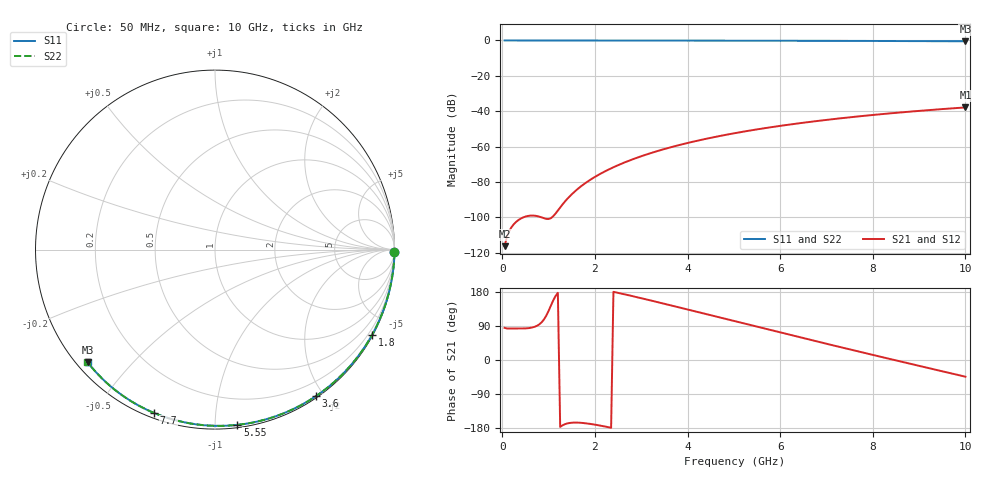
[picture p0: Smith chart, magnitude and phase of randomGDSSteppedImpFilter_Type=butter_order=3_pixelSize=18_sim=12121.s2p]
! freq	dB(S11)	phase(S11)	dB(S12)	phase(S12)
!  dB(S21)	phase(S21)	dB(S22)	phase(S22)
!S-par simulation data
#  GHz  S  DB  R 50
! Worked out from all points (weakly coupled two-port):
!   200 points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, 50 MHz to 10 GHz, reference 50 ohm
!   highest |S21| = -37.84 dB at 10 GHz (marker M1); lowest = -116.2 dB at 50 MHz (marker M2)
!   lowest |S11| = -0.5 dB at 10 GHz (marker M3), VSWR 37.02, Z = 1.54 - j18.9 ohm
!   |S11| at or under -10 dB: nowhere
!   |S22| runs from -0.5 to 0.0 dB; largest |S21 - S12| = 0
!   S11 on the Smith chart (normalised r, x): 50 MHz: open; 1.8 GHz: 0.03, -3.95; 3.6 GHz: 0.02, -1.90; 5.55 GHz: 0.02, -1.14; 7.7 GHz: 0.02, -0.69; 10 GHz: 0.03, -0.38
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0.05  -0.00 -0.8  -116.24 84.8  -116.24 84.8  -0.00 -0.8
0.45  -0.01 -7.2  -99.99 83.1  -99.99 83.1  -0.01 -7.2
0.9  -0.02 -14.3  -100.47 107.0  -100.47 107.0  -0.02 -14.4
1.75  -0.04 -27.6  -81.42 -166.3  -81.42 -166.3  -0.04 -27.7
1.8  -0.04 -28.4  -80.48 -167.0  -80.48 -167.0  -0.04 -28.4
1.85  -0.04 -29.2  -79.58 -167.8  -79.58 -167.8  -0.04 -29.2
2.05  -0.04 -32.2  -76.34 -171.6  -76.34 -171.6  -0.04 -32.3
2.25  -0.05 -35.3  -73.53 -176.3  -73.53 -176.3  -0.05 -35.3
2.55  -0.05 -39.9  -69.91 175.8  -69.91 175.8  -0.05 -39.9
2.95  -0.06 -45.9  -65.88 164.6  -65.88 164.6  -0.06 -45.9
3.4  -0.07 -52.5  -62.10 151.3  -62.10 151.3  -0.07 -52.6
3.6  -0.07 -55.5  -60.62 145.4  -60.62 145.4  -0.07 -55.5
3.9  -0.08 -59.8  -58.57 136.3  -58.57 136.3  -0.08 -59.9
4.3  -0.09 -65.5  -56.14 124.2  -56.14 124.2  -0.09 -65.6
5.05  -0.12 -76.0  -52.25 101.4  -52.25 101.4  -0.12 -76.0
5.55  -0.14 -82.7  -50.04 86.3  -50.04 86.3  -0.14 -82.8
6.1  -0.16 -90.1  -47.89 69.7  -47.89 69.7  -0.16 -90.1
6.7  -0.19 -97.8  -45.83 51.8  -45.83 51.8  -0.19 -97.9
7.7  -0.25 -110.5  -42.89 22.2  -42.89 22.2  -0.25 -110.6
8.35  -0.30 -118.5  -41.25 3.3  -41.25 3.3  -0.30 -118.6
9.2  -0.38 -128.8  -39.37 -21.2  -39.37 -21.2  -0.38 -128.9
10  -0.47 -138.5  -37.84 -44.1  -37.84 -44.1  -0.47 -138.6
